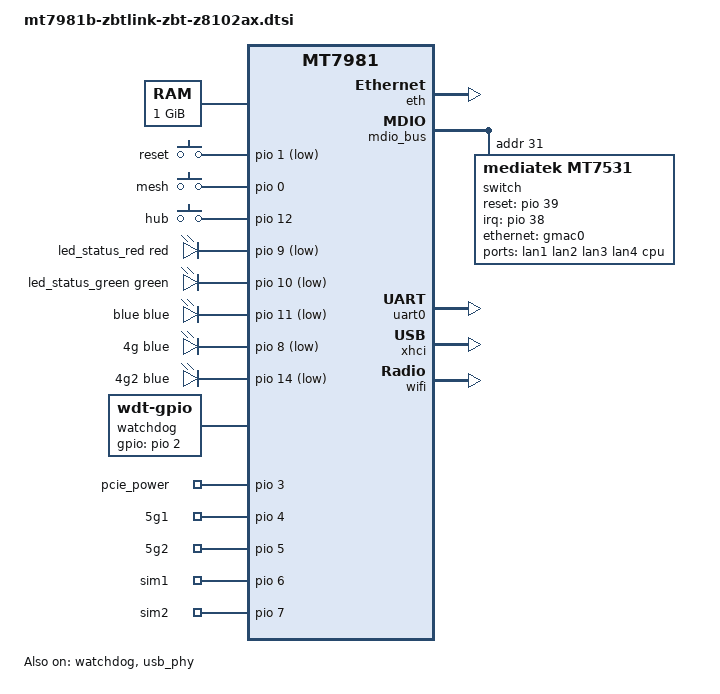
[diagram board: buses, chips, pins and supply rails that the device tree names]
// SPDX-License-Identifier: GPL-2.0-or-later OR MIT

/dts-v1/;

#include "mt7981.dtsi"

/ {
	compatible = "zbtlink,zbt-z8102ax", "mediatek,mt7981";

	aliases {
		serial0 = &uart0;
		led-boot = &led_status_green;
		led-failsafe = &led_status_red;
		led-running = &led_status_green;
		led-upgrade = &led_status_green;
		label-mac-device = &gmac0;
	};

	memory {
		reg = <0 0x40000000 0 0x40000000>;
	};

	gpio-keys {
		compatible = "gpio-keys";

		button-reset {
			label = "reset";
			linux,code = <KEY_RESTART>;
			gpios = <&pio 1 GPIO_ACTIVE_LOW>;
		};

		button-mesh {
			label = "mesh";
			linux,code = <BTN_0>;
			gpios = <&pio 0 GPIO_ACTIVE_HIGH>;
		};

		button-hub {
			label = "hub";
			linux,code = <BTN_1>;
			gpios = <&pio 12 GPIO_ACTIVE_HIGH>;
		};
	};

	leds {
		compatible = "gpio-leds";

		led_status_red: red {
			gpios = <&pio 9 GPIO_ACTIVE_LOW>;
			color = <LED_COLOR_ID_RED>;
			function = LED_FUNCTION_STATUS;
		};

		led_status_green: green {
			gpios = <&pio 10 GPIO_ACTIVE_LOW>;
			color = <LED_COLOR_ID_GREEN>;
			function = LED_FUNCTION_STATUS;
		};

		blue {
			gpios = <&pio 11 GPIO_ACTIVE_LOW>;
			color = <LED_COLOR_ID_BLUE>;
			function = LED_FUNCTION_STATUS;
		};

		4g {
			gpios = <&pio 8 GPIO_ACTIVE_LOW>;
			color = <LED_COLOR_ID_BLUE>;
			function = LED_FUNCTION_USB;
			function-enumerator = <0>;
		};

		4g2 {
			gpios = <&pio 14 GPIO_ACTIVE_LOW>;
			color = <LED_COLOR_ID_BLUE>;
			function = LED_FUNCTION_USB;
			function-enumerator = <1>;
		};
	};

	watchdog {
		compatible = "linux,wdt-gpio";
		gpios = <&pio 2 GPIO_ACTIVE_HIGH>;
		hw_algo = "toggle";
		hw_margin_ms = <1000>;
	};

	gpio-export {
		compatible = "gpio-export";
		#size-cells = <0>;

		pcie {
			gpio-export,name = "pcie_power";
			gpio-export,output = <1>;
			gpios = <&pio 3 GPIO_ACTIVE_HIGH>;
		};

		5g1 {
			gpio-export,name = "5g1";
			gpio-export,output = <1>;
			gpios = <&pio 4 GPIO_ACTIVE_HIGH>;
		};

		5g2 {
			gpio-export,name = "5g2";
			gpio-export,output = <1>;
			gpios = <&pio 5 GPIO_ACTIVE_HIGH>;
		};

		sim1 {
			gpio-export,name = "sim1";
			gpio-export,output = <1>;
			gpios = <&pio 6 GPIO_ACTIVE_HIGH>;
		};

		sim2 {
			gpio-export,name = "sim2";
			gpio-export,output = <1>;
			gpios = <&pio 7 GPIO_ACTIVE_HIGH>;
		};
	};
};

&eth {
	status = "okay";

	gmac0: mac@0 {
		/* LAN */
		compatible = "mediatek,eth-mac";
		reg = <0>;
		phy-mode = "2500base-x";

		nvmem-cell-names = "mac-address";
		nvmem-cells = <&macaddr_factory_4 2>;

		fixed-link {
			speed = <2500>;
			full-duplex;
			pause;
		};
	};

	gmac1: mac@1 {
		/* WAN */
		compatible = "mediatek,eth-mac";
		reg = <1>;
		phy-mode = "gmii";
		phy-handle = <&int_gbe_phy>;

		nvmem-cell-names = "mac-address";
		nvmem-cells = <&macaddr_factory_4 3>;
	};
};

&mdio_bus {
	switch: switch@1f {
		compatible = "mediatek,mt7531";
		reg = <31>;
		reset-gpios = <&pio 39 GPIO_ACTIVE_HIGH>;
		interrupt-controller;
		#interrupt-cells = <1>;
		interrupt-parent = <&pio>;
		interrupts = <38 IRQ_TYPE_LEVEL_HIGH>;
	};
};

&switch {
	ports {
		#address-cells = <1>;
		#size-cells = <0>;

		port@0 {
			reg = <0>;
			label = "lan1";
		};

		port@1 {
			reg = <1>;
			label = "lan2";
		};

		port@2 {
			reg = <2>;
			label = "lan3";
		};

		port@3 {
			reg = <3>;
			label = "lan4";
		};

		port@6 {
			reg = <6>;
			label = "cpu";
			ethernet = <&gmac0>;
			phy-mode = "2500base-x";

			fixed-link {
				speed = <2500>;
				full-duplex;
				pause;
			};
		};
	};
};

&uart0 {
	status = "okay";
};

&watchdog {
	status = "okay";
};

&usb_phy {
	status = "okay";
};

&xhci {
	status = "okay";
};

&wifi {
	status = "okay";

	nvmem-cells = <&eeprom_factory>;
	nvmem-cell-names = "eeprom";
};
